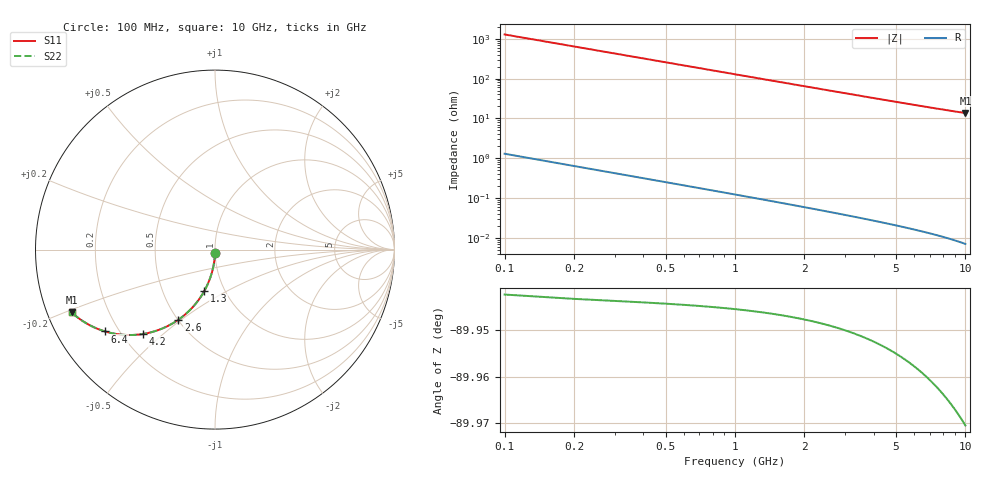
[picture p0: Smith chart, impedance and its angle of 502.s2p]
# Hz S RI R 50.00
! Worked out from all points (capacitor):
!   100 points, 100 MHz to 10 GHz, reference 50 ohm
!   read as one part in shunt: C = 1.24 pF near 100 MHz
!   lowest |Z| = 13.7 ohm at 10 GHz (marker M1)
!   S11 on the Smith chart (normalised r, x): 100 MHz: 1.00, -0.04; 1.3 GHz: 0.80, -0.39; 2.6 GHz: 0.50, -0.49; 4.2 GHz: 0.28, -0.43; 6.4 GHz: 0.15, -0.32; 10 GHz: 0.07, -0.21
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1e8  -0.000139 -0.019  0.9993 -0.0199  0.9993 -0.0199  -0.000139 -0.019
2e8  -0.00129 -0.0379  0.9982 -0.0397  0.9982 -0.0397  -0.00129 -0.0379
3e8  -0.00318 -0.0567  0.9963 -0.0595  0.9963 -0.0595  -0.00318 -0.0567
4e8  -0.00581 -0.0754  0.9937 -0.0791  0.9937 -0.0791  -0.00581 -0.0754
5e8  -0.00918 -0.0939  0.9903 -0.0986  0.9903 -0.0986  -0.00918 -0.0939
6e8  -0.0132 -0.1122  0.9862 -0.1178  0.9862 -0.1178  -0.0132 -0.1122
7e8  -0.018 -0.1302  0.9814 -0.1368  0.9814 -0.1368  -0.018 -0.1302
8e8  -0.0235 -0.148  0.976 -0.1555  0.976 -0.1555  -0.0235 -0.148
1e9  -0.0363 -0.1825  0.9631 -0.1919  0.9631 -0.1919  -0.0363 -0.1825
1.3e9  -0.0599 -0.2314  0.9394 -0.2435  0.9394 -0.2435  -0.0599 -0.2314
1.5e9  -0.0783 -0.2616  0.921 -0.2757  0.921 -0.2757  -0.0783 -0.2616
1.8e9  -0.1091 -0.3033  0.8902 -0.3201  0.8902 -0.3201  -0.1091 -0.3033
2.2e9  -0.1548 -0.3513  0.8444 -0.3719  0.8444 -0.3719  -0.1548 -0.3513
2.6e9  -0.2039 -0.3905  0.7952 -0.4149  0.7952 -0.4149  -0.2039 -0.3905
3.4e9  -0.3052 -0.4442  0.6937 -0.4761  0.6937 -0.4761  -0.3052 -0.4442
4.2e9  -0.4021 -0.4702  0.5965 -0.5097  0.5965 -0.5097  -0.4021 -0.4702
5.1e9  -0.4991 -0.4754  0.4992 -0.5235  0.4992 -0.5235  -0.4991 -0.4754
6.4e9  -0.6126 -0.4559  0.3849 -0.5167  0.3849 -0.5167  -0.6126 -0.4559
6.7e9  -0.6346 -0.4488  0.3628 -0.5124  0.3628 -0.5124  -0.6346 -0.4488
7.5e9  -0.6864 -0.427  0.3104 -0.4985  0.3104 -0.4985  -0.6864 -0.427
8.4e9  -0.7343 -0.3998  0.2618 -0.4803  0.2618 -0.4803  -0.7343 -0.3998
1e10  -0.7987 -0.3499  0.196 -0.4468  0.196 -0.4468  -0.7987 -0.3499
